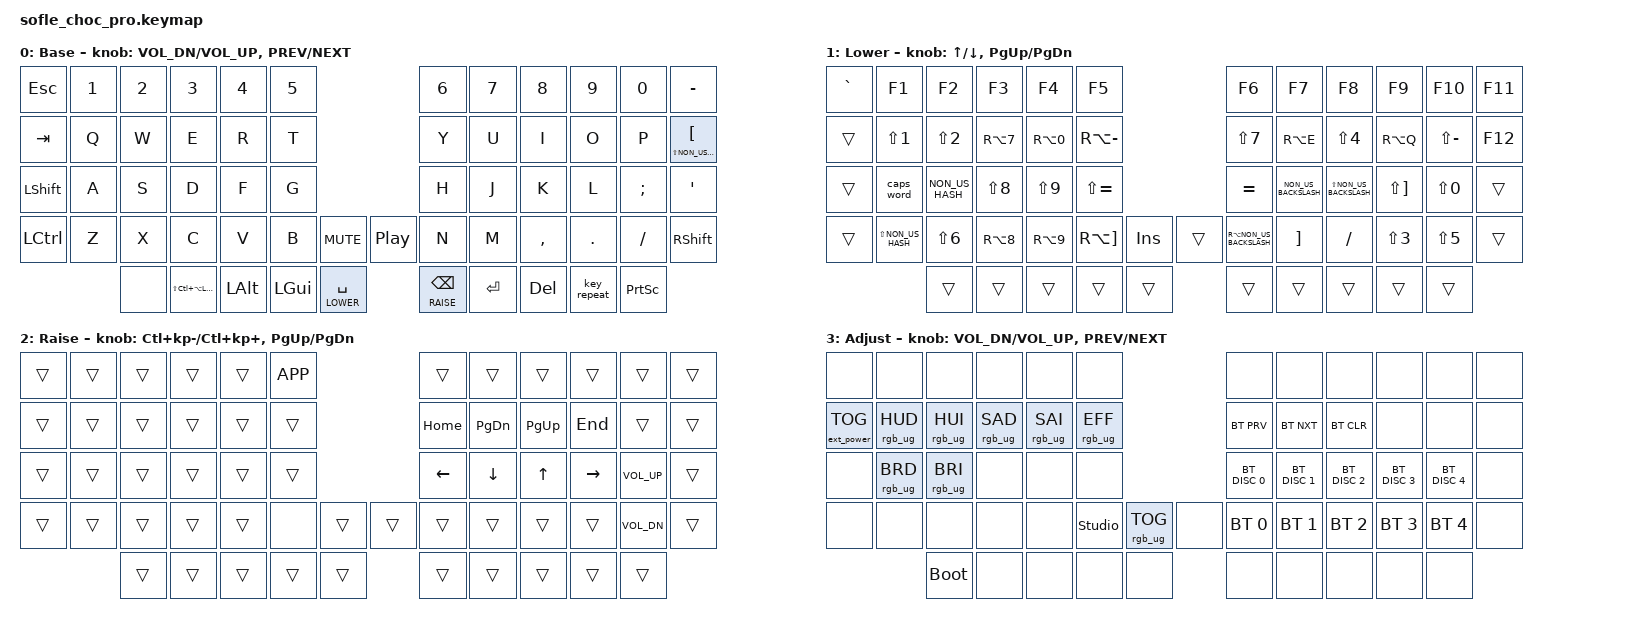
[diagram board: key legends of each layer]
/*
 * Sofle Choc Pro — German Coding layout
 *
 * Translated from the ZSA Moonlander "German Coding" Oryx layout.
 * - Drops mouse keys
 * - Drops the Moonlander tap-dance (Insert/layer3) — hold LOWER+RAISE → ADJUST
 * - Preserves the ü/' dual-function T key (tap=' , hold=ü)
 * - studio_unlock reachable on BOTH raise and adjust layers
 */

#include <behaviors.dtsi>
#include <dt-bindings/zmk/bt.h>
#include <dt-bindings/zmk/ext_power.h>
#include <dt-bindings/zmk/keys.h>
#include <dt-bindings/zmk/rgb.h>

/* ---------- German (QWERTZ) keycode aliases ----------
 * Mirrors ZSA Oryx i18n.h — OS keyboard layout must be set to German.
 */

#define DE_Y       Z
#define DE_Z       Y
#define DE_SS      MINUS
#define DE_UE      LBKT
#define DE_QUOT    LS(NON_US_HASH)
#define DE_OE      SEMI
#define DE_AE      SQT
#define DE_MINS    SLASH
#define DE_CIRC    GRAVE
#define DE_EXLM    LS(N1)
#define DE_DQOT    LS(N2)
#define DE_LCBR    RA(N7)
#define DE_RCBR    RA(N0)
#define DE_BSLS    RA(MINUS)
#define DE_HASH    NON_US_HASH
#define DE_LPRN    LS(N8)
#define DE_RPRN    LS(N9)
#define DE_GRV     LS(EQUAL)
#define DE_AMPR    LS(N6)
#define DE_LBRC    RA(N8)
#define DE_RBRC    RA(N9)
#define DE_TILD    RA(RBKT)
#define DE_SLSH    LS(N7)
#define DE_EURO    RA(E)
#define DE_DLR     LS(N4)
#define DE_AT      RA(Q)
#define DE_QST     LS(MINUS)
#define DE_ACUT    EQUAL
#define DE_LESS    NON_US_BACKSLASH
#define DE_MORE    LS(NON_US_BACKSLASH)
#define DE_ASTR    LS(RBKT)
#define DE_EQL     LS(N0)
#define DE_PIPE    RA(NON_US_BACKSLASH)
#define DE_PLUS    RBKT
#define DE_PARA    LS(N3)
#define DE_PERC    LS(N5)

/* Hyper = LCtrl + LShift + LAlt + LGui (one-key all-mods) */

#define HYPER      LS(LC(LA(LGUI)))

/* Layer indexes */

#define BASE   0
#define LOWER  1
#define RAISE  2
#define ADJUST 3

/ {
    conditional_layers {
        compatible = "zmk,conditional-layers";

        adjust_layer {
            if-layers = <1 2>;
            then-layer = <3>;
        };
    };

    behaviors {
        /*
         * ue_quot — hold-tap
         * Tap  = ü (DE_UE)      — matches Moonlander DUAL_FUNC_0 tap side
         * Hold = ' (DE_QUOT)    — matches Moonlander DUAL_FUNC_0 hold side
         * Usage: &ue_quot DE_QUOT DE_UE   (first arg = hold, second = tap)
         */

        ue_quot: ue_quot {
            compatible = "zmk,behavior-hold-tap";
            #binding-cells = <2>;
            tapping-term-ms = <200>;
            flavor = "tap-preferred";
            bindings = <&kp>, <&kp>;
        };

        /*
         * thumb_lt — balanced layer-tap for thumb keys.
         * require-prior-idle-ms blocks hold-resolution right after typing so
         * fast Space/Backspace rolls aren't misread as layer holds.
         */

        thumb_lt: thumb_layer_tap {
            compatible = "zmk,behavior-hold-tap";
            #binding-cells = <2>;
            flavor = "balanced";
            tapping-term-ms = <200>;
            quick-tap-ms = <175>;
            require-prior-idle-ms = <125>;
            bindings = <&mo>, <&kp>;
        };

        /* Tap = Ctrl+Z (undo), Shift+Tap = Ctrl+Y (redo, Office-style). */

        undo_redo: undo_redo {
            compatible = "zmk,behavior-mod-morph";
            #binding-cells = <0>;
            bindings = <&kp LC(DE_Z)>, <&kp LC(DE_Y)>;
            mods = <(MOD_LSFT|MOD_RSFT)>;
        };

        /* Tap = Alt+Tab (next window), Shift+Tap = Alt+Shift+Tab (previous). */

        alt_tab: alt_tab {
            compatible = "zmk,behavior-mod-morph";
            #binding-cells = <0>;
            bindings = <&kp LA(TAB)>, <&kp LA(LS(TAB))>;
            mods = <(MOD_LSFT|MOD_RSFT)>;
        };
    };

    keymap {
        compatible = "zmk,keymap";

        default_layer {
            display-name = "Base";

            // ----------------------------------------------------------------------------------------------------
            // | ESC  |  1  |  2  |  3  |  4  |  5  |                         |  6  |  7  |  8  |  9  |  0  |  ß  |
            // | TAB  |  Q  |  W  |  E  |  R  |  T  |                         |  Z  |  U  |  I  |  O  |  P  | ü/' |
            // | SHFT |  A  |  S  |  D  |  F  |  G  |                         |  H  |  J  |  K  |  L  |  Ö  |  Ä  |
            // | CTRL |  Y  |  X  |  C  |  V  |  B  | MUTE |         | PLAY   |  N  |  M  |  ,  |  .  |  -  | SHFT |
            //              |     | HYP | ALT | GUI | SPC* |         | BSP*   | ENT | DEL | RPT | PSC |
            //                                        ^LWR            ^RSE
            //  SPC*/BSP* = layer-tap: tap=Space/BSPC, hold=Lower/Raise
            //  RPT = key_repeat (repeat last key)

            bindings = <
&kp ESC    &kp N1    &kp N2    &kp N3     &kp N4        &kp N5                                       &kp N6                &kp N7     &kp N8   &kp N9      &kp N0       &kp DE_SS
&kp TAB    &kp Q     &kp W     &kp E      &kp R         &kp T         &kp DE_Z                                              &kp U      &kp I    &kp O       &kp P        &ue_quot DE_QUOT DE_UE
&kp LSHFT  &kp A     &kp S     &kp D      &kp F         &kp G         &kp H                                                 &kp J      &kp K    &kp L       &kp DE_OE    &kp DE_AE
&kp LCTRL  &kp DE_Y  &kp X     &kp C      &kp V         &kp B         &kp C_MUTE  &kp C_PP           &kp N                  &kp M      &kp COMMA &kp DOT     &kp DE_MINS  &kp RSHFT
                     &none       &kp HYPER  &kp LALT    &kp LEFT_GUI  &thumb_lt LOWER SPACE           &thumb_lt RAISE BSPC   &kp ENTER  &kp DEL    &key_repeat  &kp PSCRN
            >;

            sensor-bindings = <&inc_dec_kp C_VOL_DN C_VOL_UP &inc_dec_kp C_PREV C_NEXT>;
        };

        lower_layer {
            display-name = "Lower";

            // ----------------------------------------------------------------------------------------------------
            // |  ^  | F1  | F2  | F3  | F4  | F5  |                          | F6  | F7  | F8  | F9  | F10 | F11 |
            // |     |  !  |  "  |  {  |  }  |  \  |                          |  /  |  €  |  $  |  @  |  ?  | F12 |
            // |     | CW  |  #  |  (  |  )  |  `  |                          |  ´  |  <  |  >  |  *  |  =  |     |
            // |     |  '  |  &  |  [  |  ]  |  ~  |     |             |      |  |  |  +  |  -  |  §  |  %  |     |
            //             |     |     |     |     |     |             | DEL  |     |     |     |

            bindings = <
&kp DE_CIRC  &kp F1       &kp F2       &kp F3       &kp F4       &kp F5                            &kp F6       &kp F7       &kp F8       &kp F9       &kp F10      &kp F11
&trans       &kp DE_EXLM  &kp DE_DQOT  &kp DE_LCBR  &kp DE_RCBR  &kp DE_BSLS  &kp DE_SLSH                       &kp DE_EURO  &kp DE_DLR   &kp DE_AT    &kp DE_QST   &kp F12
&trans       &caps_word   &kp DE_HASH  &kp DE_LPRN  &kp DE_RPRN  &kp DE_GRV   &kp DE_ACUT                       &kp DE_LESS  &kp DE_MORE  &kp DE_ASTR  &kp DE_EQL   &trans
&trans       &kp DE_QUOT  &kp DE_AMPR  &kp DE_LBRC  &kp DE_RBRC  &kp DE_TILD  &kp INS      &trans  &kp DE_PIPE  &kp DE_PLUS  &kp DE_MINS  &kp DE_PARA  &kp DE_PERC  &trans
                          &trans       &trans       &trans       &trans       &trans       &trans  &trans       &trans       &trans       &trans
            >;

            sensor-bindings =
                <&inc_dec_kp UP_ARROW DOWN_ARROW>,
                <&inc_dec_kp PG_UP PG_DN>;
        };

        raise_layer {
            display-name = "Raise";

            // ----------------------------------------------------------------------------------------------------
            // |      |     |     |     |     | APP |                         |     |     |     |     |     |     |
            // |      |     |     |     |     |     |                         | HOME| PGDN| PGUP| END |     |     |
            // |      |     |     |     |     |     |                         | LEFT| DOWN|  UP | RIGHT| V+ |     |
            // |      |     |     |     |     | ULK |     |             |     |     |     |     |     | V- |     |
            //              |     |     |     |     |     |             |     |     |     |     |     |

            bindings = <
&trans     &trans     &trans     &trans     &trans     &kp K_APP                   &trans    &trans      &trans      &trans      &trans        &trans
&trans     &trans     &trans     &trans     &trans     &trans     &kp HOME                   &kp PG_DN   &kp PG_UP   &kp END     &trans        &trans
&trans     &trans     &trans     &trans     &trans     &trans     &kp LEFT                   &kp DOWN    &kp UP      &kp RIGHT   &kp C_VOL_UP  &trans
&trans     &trans     &trans     &trans     &trans     &none      &trans    &trans  &trans   &trans      &trans      &trans      &kp C_VOL_DN  &trans
                      &trans     &trans     &trans     &trans     &trans    &trans  &trans   &trans      &trans      &trans
            >;

            sensor-bindings =
                <&inc_dec_kp LC(KP_MINUS) LC(KP_PLUS)>,
                <&inc_dec_kp PG_UP PG_DN>;
        };

        adjust_layer {
            display-name = "Adjust";

            // Reached by holding LOWER + RAISE simultaneously.
            // BT management, RGB controls, studio unlock, bootloader.

            bindings = <
&none              &none            &none            &none            &none            &none                                    &none         &none          &none          &none          &none          &none
&ext_power EP_TOG  &rgb_ug RGB_HUD  &rgb_ug RGB_HUI  &rgb_ug RGB_SAD  &rgb_ug RGB_SAI  &rgb_ug RGB_EFF  &bt BT_PRV                            &bt BT_NXT     &bt BT_CLR     &none          &none          &none
&none              &rgb_ug RGB_BRD  &rgb_ug RGB_BRI  &none            &none            &none            &bt BT_DISC 0                         &bt BT_DISC 1  &bt BT_DISC 2  &bt BT_DISC 3  &bt BT_DISC 4  &none
&none              &none            &none            &none            &none            &studio_unlock   &rgb_ug RGB_TOG  &none  &bt BT_SEL 0  &bt BT_SEL 1   &bt BT_SEL 2   &bt BT_SEL 3   &bt BT_SEL 4   &none
                                    &bootloader      &none            &none            &none            &none            &none  &none         &none          &none          &none
            >;

            sensor-bindings = <&inc_dec_kp C_VOL_DN C_VOL_UP &inc_dec_kp C_PREV C_NEXT>;
        };
    };
};
